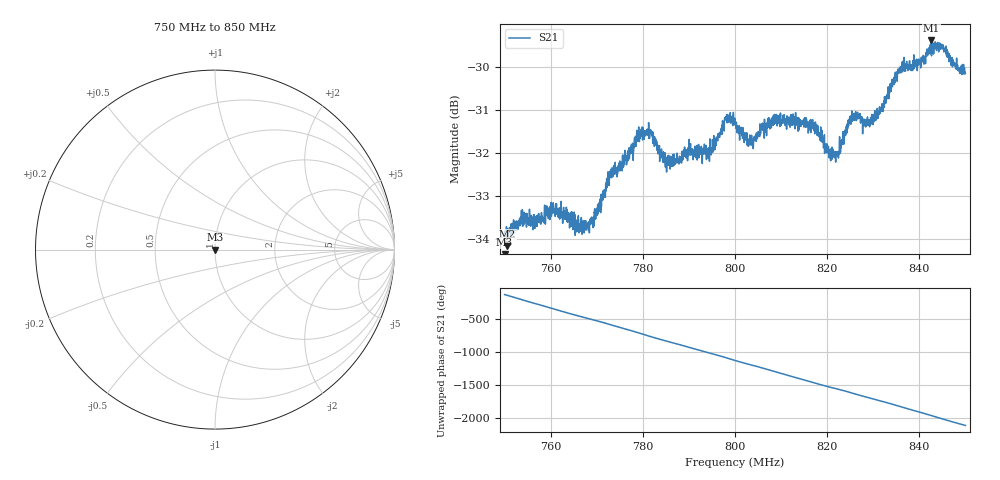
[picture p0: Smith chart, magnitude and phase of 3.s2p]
!Keysight Technologies,P9374A,MY57212427,A.14.10.08
!Date: Monday, July 18, 2022 16:41:04
!Correction: S11(Off)
!S21(Off)
!S12(Off)
!S22(Off)
!S2P File: Measurement: :
# Hz S  dB  R 50
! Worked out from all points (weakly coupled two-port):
!   2001 points, 750 MHz to 850 MHz, reference 50 ohm
!   highest |S21| = -29.39 dB at 842.6 MHz (marker M1); lowest = -34.2 dB at 750.6 MHz (marker M2)
!   lowest |S11| = - dB at 750 MHz (marker M3), VSWR 1.00, Z = 50 + j7.07e-09 ohm
!   |S11| at or under -10 dB: start of sweep to end of sweep
!   S12 and S22 are empty: the file has one direction only
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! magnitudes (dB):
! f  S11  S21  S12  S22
! 750 MHz  -  -34.0  -  -
! 750.6 MHz  -  -34.2  -  -
! 760.8 MHz  -  -33.4  -  -
! 766.7 MHz  -  -33.7  -  -
! 768.9 MHz  -  -33.6  -  -
! 773 MHz  -  -32.6  -  -
! 779.5 MHz  -  -31.6  -  -
! 783.4 MHz  -  -31.8  -  -
! 785.5 MHz  -  -32.2  -  -
! 794 MHz  -  -31.9  -  -
! 798.2 MHz  -  -31.1  -  -
! 800 MHz  -  -31.3  -  -
! 803.5 MHz  -  -31.7  -  -
! 808.5 MHz  -  -31.1  -  -
! 816.7 MHz  -  -31.4  -  -
! 822.1 MHz  -  -32.0  -  -
! 825.3 MHz  -  -31.3  -  -
! 829.5 MHz  -  -31.2  -  -
! 833.4 MHz  -  -30.6  -  -
! 836.2 MHz  -  -30.0  -  -
! 842.6 MHz  -  -29.4  -  -
! 850 MHz  -  -30.2  -  -
